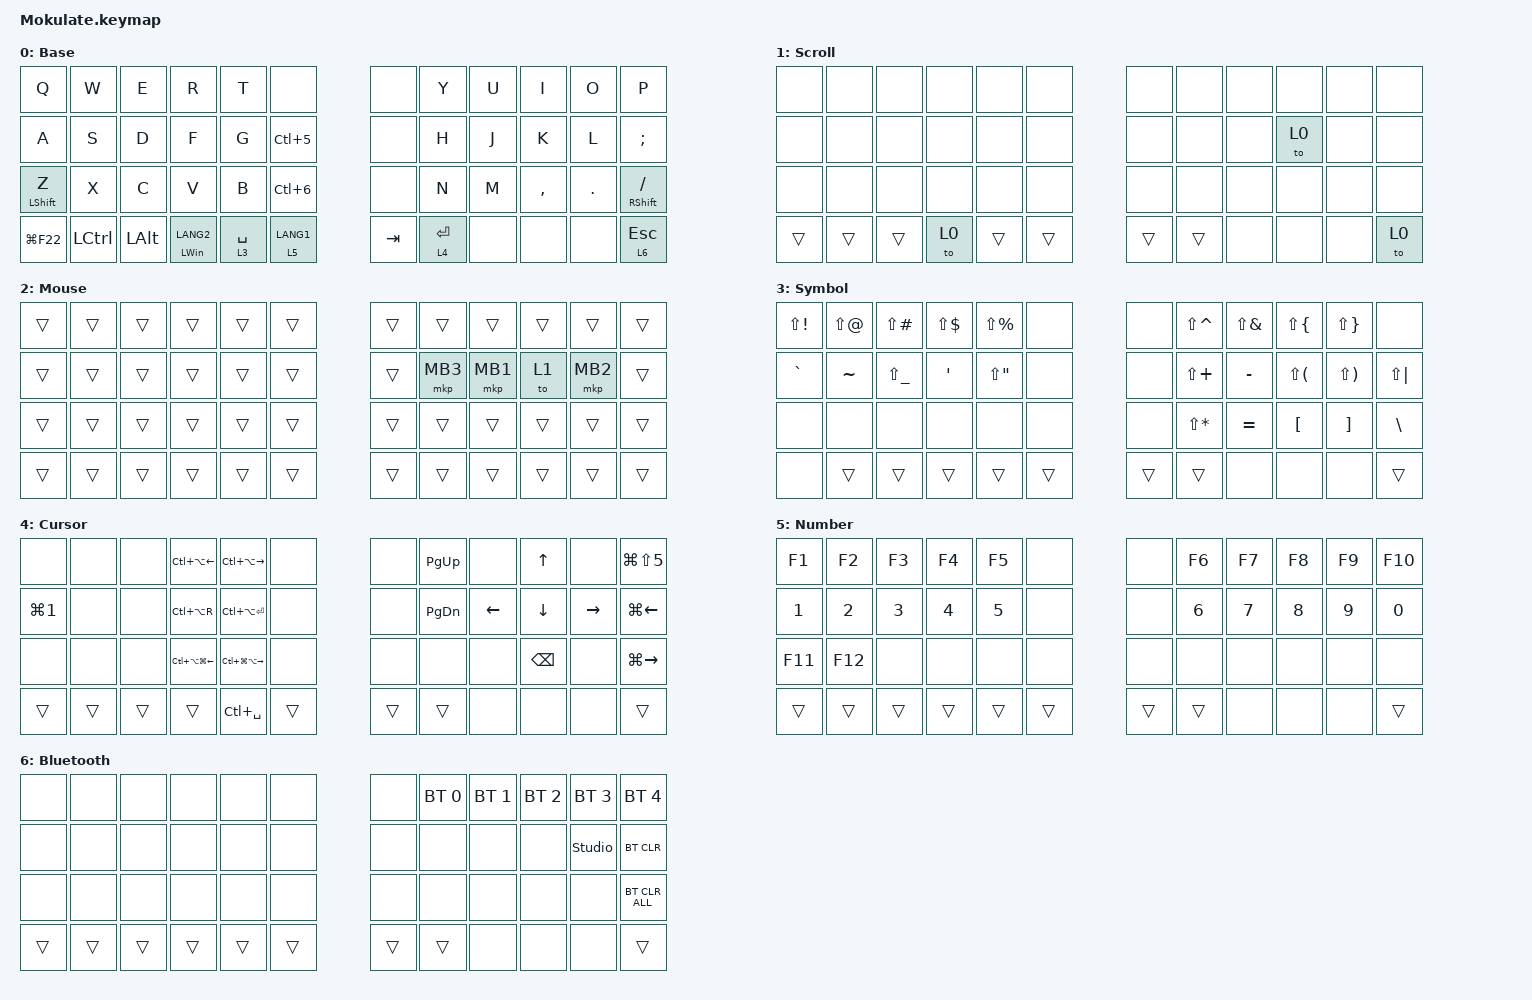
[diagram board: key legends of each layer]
#include <behaviors.dtsi>
#ifdef CONFIG_ZMK_RUNTIME_MACRO
#include <behaviors/runtime_macro.dtsi>
#endif
#include <dt-bindings/zmk/bt.h>
#include <dt-bindings/zmk/keys.h>
#include <dt-bindings/zmk/pointing.h>

/ {
    keymap {
        compatible = "zmk,keymap";

        default_layer {
            display-name = "Base";
            bindings = <
&kp Q             &kp W      &kp E         &kp R               &kp T        &none            &none    &kp Y        &kp U  &kp I      &kp O    &kp P
&kp A             &kp S      &kp D         &kp F               &kp G        &kp LC(N5)       &none    &kp H        &kp J  &kp K      &kp L    &kp SEMICOLON
&mt LEFT_SHIFT Z  &kp X      &kp C         &kp V               &kp B        &kp LC(N6)       &none    &kp N        &kp M  &kp COMMA  &kp DOT  &mt RIGHT_SHIFT SLASH
&kp LG(F22)       &kp LCTRL  &kp LEFT_ALT  &mt LEFT_WIN LANG2  &lt 3 SPACE  &lt 5 LANG1      &kp TAB  &lt 4 ENTER  &none  &none      &none    &lt 6 ESCAPE
            >;
        };

        SCROLL {
            display-name = "Scroll";
            bindings = <
&none   &none   &none   &none  &none   &none       &none   &none   &none  &none  &none  &none
&none   &none   &none   &none  &none   &none       &none   &none   &none  &to 0  &none  &none
&none   &none   &none   &none  &none   &none       &none   &none   &none  &none  &none  &none
&trans  &trans  &trans  &to 0  &trans  &trans      &trans  &trans  &none  &none  &none  &to 0
            >;
        };

        MOUSE {
            display-name = "Mouse";
            bindings = <
&trans  &trans  &trans  &trans  &trans  &trans      &trans  &trans    &trans    &trans  &trans    &trans
&trans  &trans  &trans  &trans  &trans  &trans      &trans  &mkp MB3  &mkp MB1  &to 1   &mkp MB2  &trans
&trans  &trans  &trans  &trans  &trans  &trans      &trans  &trans    &trans    &trans  &trans    &trans
&trans  &trans  &trans  &trans  &trans  &trans      &trans  &trans    &trans    &trans  &trans    &trans
            >;
        };

        SYMBOL {
            display-name = "Symbol";
            bindings = <
&kp LS(EXCL)  &kp LS(AT)  &kp LS(POUND)  &kp LS(DLLR)  &kp LS(PRCNT)  &none     &none   &kp LS(CARET)  &kp LS(AMPS)  &kp LS(LBRC)  &kp LS(RBRC)  &none
&kp GRAVE     &kp TILDE   &kp LS(UNDER)  &kp SQT       &kp LS(DQT)    &none     &none   &kp LS(PLUS)   &kp MINUS     &kp LS(LPAR)  &kp LS(RPAR)  &kp LS(PIPE)
&none         &none       &none          &none         &none          &none     &none   &kp LS(STAR)   &kp EQUAL     &kp LBKT      &kp RBKT      &kp BSLH
&none         &trans      &trans         &trans        &trans         &trans    &trans  &trans         &none         &none         &none         &trans
            >;
        };

        CURSOR {
            display-name = "Cursor";
            bindings = <
&none             &none   &none   &kp LC(LA(LEFT))      &kp LC(LA(RIGHT))      &none     &none   &kp PG_UP  &none     &kp UP    &none      &kp LG(LS(N5))
&kp LG(NUMBER_1)  &none   &none   &kp LC(LA(R))         &kp LC(LA(RET))        &none     &none   &kp PG_DN  &kp LEFT  &kp DOWN  &kp RIGHT  &kp LG(LEFT)
&none             &none   &none   &kp LC(LA(LG(LEFT)))  &kp LC(LG(LA(RIGHT)))  &none     &none   &none      &none     &kp BSPC  &none      &kp LG(RIGHT)
&trans            &trans  &trans  &trans                &kp LC(SPACE)          &trans    &trans  &trans     &none     &none     &none      &trans
            >;
        };

        NUMBER {
            display-name = "Number";
            bindings = <
&kp F1   &kp F2   &kp F3  &kp F4  &kp F5  &none     &none   &kp F6  &kp F7  &kp F8  &kp F9  &kp F10
&kp N1   &kp N2   &kp N3  &kp N4  &kp N5  &none     &none   &kp N6  &kp N7  &kp N8  &kp N9  &kp N0
&kp F11  &kp F12  &none   &none   &none   &none     &none   &none   &none   &none   &none   &none
&trans   &trans   &trans  &trans  &trans  &trans    &trans  &trans  &none   &none   &none   &trans
            >;
        };

        BLUETOOTH {
            display-name = "Bluetooth";
            bindings = <
&none   &none   &none   &none   &none   &none     &none   &bt BT_SEL 0  &bt BT_SEL 1  &bt BT_SEL 2  &bt BT_SEL 3   &bt BT_SEL 4
&none   &none   &none   &none   &none   &none     &none   &none         &none         &none         &studio_unlock &bt BT_CLR
&none   &none   &none   &none   &none   &none     &none   &none         &none         &none         &none          &bt BT_CLR_ALL
&trans  &trans  &trans  &trans  &trans  &trans    &trans  &trans        &none         &none         &none          &trans
            >;
        };
    };
};
